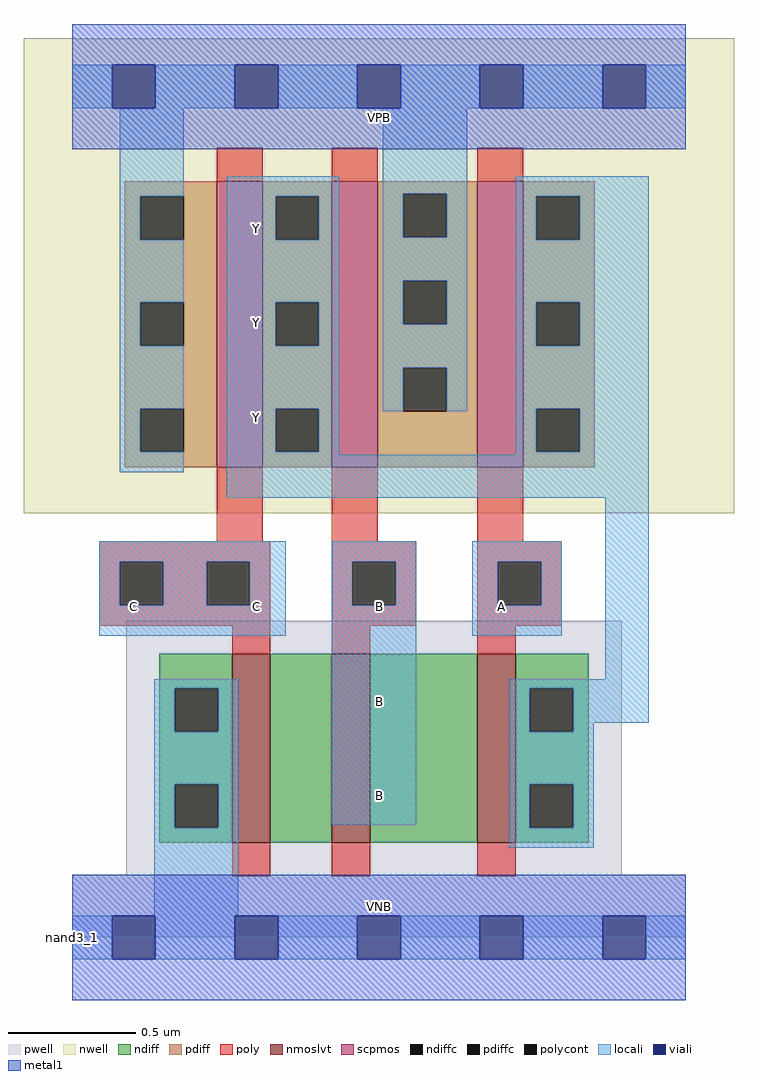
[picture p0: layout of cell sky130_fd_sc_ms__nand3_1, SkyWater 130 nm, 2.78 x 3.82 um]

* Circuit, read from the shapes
.subckt sky130_fd_sc_ms__nand3_1 A B C VGND VNB VPB VPWR Y
XM1 n1 C VGND VNB sky130_fd_pr__nfet_01v8_lvt w=0.74 l=0.15
XM2 n2 B n1 VNB sky130_fd_pr__nfet_01v8_lvt w=0.74 l=0.15
XM3 Y A n2 VNB sky130_fd_pr__nfet_01v8_lvt w=0.74 l=0.15
XM4 Y C VPWR VPB sky130_fd_pr__pfet_01v8 w=1.12 l=0.18
XM5 VPWR B Y VPB sky130_fd_pr__pfet_01v8 w=1.12 l=0.18
XM6 Y A VPWR VPB sky130_fd_pr__pfet_01v8 w=1.12 l=0.18
.ends

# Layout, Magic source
magic
tech sky130A
magscale 1 2
<< nwell >>
rect -38 332 518 704
<< pwell >>
rect 42 49 430 248
rect 0 0 480 49
<< scpmos >>
rect 113 368 149 592
rect 203 368 239 592
rect 317 368 353 592
<< nmoslvt >>
rect 125 74 155 222
rect 203 74 233 222
rect 317 74 347 222
<< ndiff >>
rect 68 195 125 222
rect 68 161 80 195
rect 114 161 125 195
rect 68 120 125 161
rect 68 86 80 120
rect 114 86 125 120
rect 68 74 125 86
rect 155 74 203 222
rect 233 74 317 222
rect 347 195 404 222
rect 347 161 358 195
rect 392 161 404 195
rect 347 120 404 161
rect 347 86 358 120
rect 392 86 404 120
rect 347 74 404 86
<< pdiff >>
rect 41 580 113 592
rect 41 546 53 580
rect 87 546 113 580
rect 41 497 113 546
rect 41 463 53 497
rect 87 463 113 497
rect 41 414 113 463
rect 41 380 53 414
rect 87 380 113 414
rect 41 368 113 380
rect 149 580 203 592
rect 149 546 159 580
rect 193 546 203 580
rect 149 497 203 546
rect 149 463 159 497
rect 193 463 203 497
rect 149 414 203 463
rect 149 380 159 414
rect 193 380 203 414
rect 149 368 203 380
rect 239 582 317 592
rect 239 548 259 582
rect 293 548 317 582
rect 239 514 317 548
rect 239 480 259 514
rect 293 480 317 514
rect 239 446 317 480
rect 239 412 259 446
rect 293 412 317 446
rect 239 368 317 412
rect 353 580 409 592
rect 353 546 363 580
rect 397 546 409 580
rect 353 497 409 546
rect 353 463 363 497
rect 397 463 409 497
rect 353 414 409 463
rect 353 380 363 414
rect 397 380 409 414
rect 353 368 409 380
<< ndiffc >>
rect 80 161 114 195
rect 80 86 114 120
rect 358 161 392 195
rect 358 86 392 120
<< pdiffc >>
rect 53 546 87 580
rect 53 463 87 497
rect 53 380 87 414
rect 159 546 193 580
rect 159 463 193 497
rect 159 380 193 414
rect 259 548 293 582
rect 259 480 293 514
rect 259 412 293 446
rect 363 546 397 580
rect 363 463 397 497
rect 363 380 397 414
<< poly >>
rect 113 592 149 618
rect 203 592 239 618
rect 317 592 353 618
rect 113 310 149 368
rect 203 310 239 368
rect 317 310 353 368
rect 21 294 155 310
rect 21 260 37 294
rect 71 260 105 294
rect 139 260 155 294
rect 21 244 155 260
rect 125 222 155 244
rect 203 294 269 310
rect 203 260 219 294
rect 253 260 269 294
rect 203 244 269 260
rect 317 294 383 310
rect 317 260 333 294
rect 367 260 383 294
rect 317 244 383 260
rect 203 222 233 244
rect 317 222 347 244
rect 125 48 155 74
rect 203 48 233 74
rect 317 48 347 74
<< polycont >>
rect 37 260 71 294
rect 105 260 139 294
rect 219 260 253 294
rect 333 260 367 294
<< locali >>
rect 0 649 31 683
rect 65 649 127 683
rect 161 649 223 683
rect 257 649 319 683
rect 353 649 415 683
rect 449 649 480 683
rect 37 580 87 649
rect 37 546 53 580
rect 37 497 87 546
rect 37 463 53 497
rect 37 414 87 463
rect 37 380 53 414
rect 37 364 87 380
rect 121 580 209 596
rect 121 546 159 580
rect 193 546 209 580
rect 121 497 209 546
rect 121 463 159 497
rect 193 463 209 497
rect 121 414 209 463
rect 121 380 159 414
rect 193 380 209 414
rect 243 582 309 649
rect 243 548 259 582
rect 293 548 309 582
rect 243 514 309 548
rect 243 480 259 514
rect 293 480 309 514
rect 243 446 309 480
rect 243 412 259 446
rect 293 412 309 446
rect 347 580 451 596
rect 347 546 363 580
rect 397 546 451 580
rect 347 497 451 546
rect 347 463 363 497
rect 397 463 451 497
rect 347 414 451 463
rect 121 378 209 380
rect 347 380 363 414
rect 397 380 451 414
rect 347 378 451 380
rect 121 344 451 378
rect 21 294 167 310
rect 21 260 37 294
rect 71 260 105 294
rect 139 260 167 294
rect 21 236 167 260
rect 203 294 269 310
rect 203 260 219 294
rect 253 260 269 294
rect 64 195 130 202
rect 64 161 80 195
rect 114 161 130 195
rect 64 120 130 161
rect 64 86 80 120
rect 114 86 130 120
rect 203 88 269 260
rect 313 294 383 310
rect 313 260 333 294
rect 367 260 383 294
rect 313 236 383 260
rect 417 202 451 344
rect 342 195 451 202
rect 342 161 358 195
rect 392 168 451 195
rect 392 161 408 168
rect 342 120 408 161
rect 64 17 130 86
rect 342 86 358 120
rect 392 86 408 120
rect 342 70 408 86
rect 0 -17 31 17
rect 65 -17 127 17
rect 161 -17 223 17
rect 257 -17 319 17
rect 353 -17 415 17
rect 449 -17 480 17
<< viali >>
rect 31 649 65 683
rect 127 649 161 683
rect 223 649 257 683
rect 319 649 353 683
rect 415 649 449 683
rect 31 -17 65 17
rect 127 -17 161 17
rect 223 -17 257 17
rect 319 -17 353 17
rect 415 -17 449 17
<< metal1 >>
rect 0 683 480 715
rect 0 649 31 683
rect 65 649 127 683
rect 161 649 223 683
rect 257 649 319 683
rect 353 649 415 683
rect 449 649 480 683
rect 0 617 480 649
rect 0 17 480 49
rect 0 -17 31 17
rect 65 -17 127 17
rect 161 -17 223 17
rect 257 -17 319 17
rect 353 -17 415 17
rect 449 -17 480 17
rect 0 -49 480 -17
<< labels >>
flabel pwell s 0 0 480 49 0 FreeSans 200 0 0 0 VNB
port 5 nsew ground bidirectional
flabel nwell s 0 617 480 666 0 FreeSans 200 0 0 0 VPB
port 6 nsew power bidirectional
rlabel comment s 0 0 0 0 4 nand3_1
flabel metal1 s 0 617 480 666 0 FreeSans 340 0 0 0 VPWR
port 7 nsew power bidirectional
flabel metal1 s 0 0 480 49 0 FreeSans 340 0 0 0 VGND
port 4 nsew ground bidirectional
flabel locali s 31 242 65 276 0 FreeSans 340 0 0 0 C
port 3 nsew signal input
flabel locali s 127 242 161 276 0 FreeSans 340 0 0 0 C
port 3 nsew signal input
flabel locali s 127 390 161 424 0 FreeSans 340 0 0 0 Y
port 8 nsew signal output
flabel locali s 127 464 161 498 0 FreeSans 340 0 0 0 Y
port 8 nsew signal output
flabel locali s 127 538 161 572 0 FreeSans 340 0 0 0 Y
port 8 nsew signal output
flabel locali s 223 94 257 128 0 FreeSans 340 0 0 0 B
port 2 nsew signal input
flabel locali s 223 168 257 202 0 FreeSans 340 0 0 0 B
port 2 nsew signal input
flabel locali s 223 242 257 276 0 FreeSans 340 0 0 0 B
port 2 nsew signal input
flabel locali s 319 242 353 276 0 FreeSans 340 0 0 0 A
port 1 nsew signal input
<< properties >>
string LEFsite unit
string LEFclass CORE
string FIXED_BBOX 0 0 480 666
string GDS_FILE $PDKPATH/libs.ref/sky130_fd_sc_ms/gds/sky130_fd_sc_ms.gds
string LEFsymmetry X Y
string GDS_END 269860
string GDS_START 264632
<< end >>
